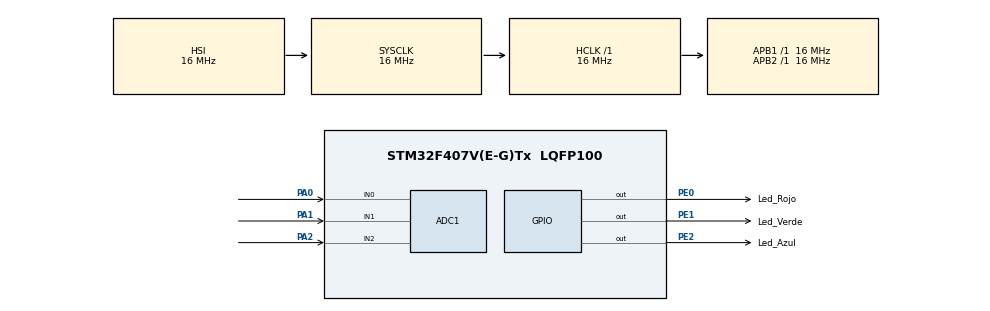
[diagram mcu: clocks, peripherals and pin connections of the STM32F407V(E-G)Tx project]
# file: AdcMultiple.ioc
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ADC1.Channel-0\#ChannelRegularConversion=ADC_CHANNEL_0
ADC1.Channel-1\#ChannelRegularConversion=ADC_CHANNEL_1
ADC1.Channel-2\#ChannelRegularConversion=ADC_CHANNEL_2
ADC1.ContinuousConvMode=ENABLE
ADC1.DMAContinuousRequests=ENABLE
ADC1.NbrOfConversion=3
ADC1.NbrOfConversionFlag=1
ADC1.Rank-0\#ChannelRegularConversion=1
ADC1.Rank-1\#ChannelRegularConversion=2
ADC1.Rank-2\#ChannelRegularConversion=3
ADC1.SamplingTime-0\#ChannelRegularConversion=ADC_SAMPLETIME_480CYCLES
ADC1.SamplingTime-1\#ChannelRegularConversion=ADC_SAMPLETIME_480CYCLES
ADC1.SamplingTime-2\#ChannelRegularConversion=ADC_SAMPLETIME_480CYCLES
ADC1.ScanConvMode=ENABLE
ADC1.master=1
Dma.ADC1.0.Direction=DMA_PERIPH_TO_MEMORY
Dma.ADC1.0.FIFOMode=DMA_FIFOMODE_DISABLE
Dma.ADC1.0.Instance=DMA2_Stream0
Dma.ADC1.0.MemDataAlignment=DMA_MDATAALIGN_HALFWORD
Dma.ADC1.0.MemInc=DMA_MINC_ENABLE
Dma.ADC1.0.Mode=DMA_CIRCULAR
Dma.ADC1.0.PeriphDataAlignment=DMA_PDATAALIGN_HALFWORD
Dma.ADC1.0.PeriphInc=DMA_PINC_DISABLE
Dma.ADC1.0.Priority=DMA_PRIORITY_LOW
Dma.Request0=ADC1
Mcu.Family=STM32F4
Mcu.Name=STM32F407V(E-G)Tx
Mcu.Package=LQFP100
NVIC.DMA2_Stream0_IRQn=true\:0\:0\:false\:false\:true
NVIC.PriorityGroup=NVIC_PRIORITYGROUP_4
PA0-WKUP.Signal=ADCx_IN0
PA1.Signal=ADCx_IN1
PA2.Signal=ADCx_IN2
PE0.GPIO_Label=Led_Rojo
PE0.PinState=GPIO_PIN_SET
PE0.Signal=GPIO_Output
PE1.GPIO_Label=Led_Verde
PE1.PinState=GPIO_PIN_SET
PE1.Signal=GPIO_Output
PE2.GPIO_Label=Led_Azul
PE2.PinState=GPIO_PIN_SET
PE2.Signal=GPIO_Output
ProjectManager.HeapSize=0x200
ProjectManager.StackSize=0x400
ProjectManager.TargetToolchain=TrueSTUDIO
RCC.AHBFreq_Value=16000000
RCC.APB1Freq_Value=16000000
RCC.APB2Freq_Value=16000000
RCC.CortexFreq_Value=16000000
RCC.HSE_VALUE=25000000
RCC.HSI_VALUE=16000000
RCC.LSE_VALUE=32768
RCC.SYSCLKFreq_VALUE=16000000
RCC.VCOOutputFreq_Value=192000000
SH.ADCx_IN0.0=ADC1_IN0,IN0
SH.ADCx_IN1.0=ADC1_IN1,IN1
SH.ADCx_IN2.0=ADC1_IN2,IN2
board=AdcMultiple

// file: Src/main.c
/**
  ******************************************************************************
  * File Name          : main.c
  * Description        : Main program body
  ******************************************************************************
  ** This notice applies to any and all portions of this file
  * that are not between comment pairs USER CODE BEGIN and
  * USER CODE END. Other portions of this file, whether
  * inserted by the user or by software development tools
  * are owned by their respective copyright owners.
  *
  * COPYRIGHT(c) 2017 STMicroelectronics
  *
  * Redistribution and use in source and binary forms, with or without modification,
  * are permitted provided that the following conditions are met:
  *   1. Redistributions of source code must retain the above copyright notice,
  *      this list of conditions and the following disclaimer.
  *   2. Redistributions in binary form must reproduce the above copyright notice,
  *      this list of conditions and the following disclaimer in the documentation
  *      and/or other materials provided with the distribution.
  *   3. Neither the name of STMicroelectronics nor the names of its contributors
  *      may be used to endorse or promote products derived from this software
  *      without specific prior written permission.
  *
  * THIS SOFTWARE IS PROVIDED BY THE COPYRIGHT HOLDERS AND CONTRIBUTORS "AS IS"
  * AND ANY EXPRESS OR IMPLIED WARRANTIES, INCLUDING, BUT NOT LIMITED TO, THE
  * IMPLIED WARRANTIES OF MERCHANTABILITY AND FITNESS FOR A PARTICULAR PURPOSE ARE
  * DISCLAIMED. IN NO EVENT SHALL THE COPYRIGHT HOLDER OR CONTRIBUTORS BE LIABLE
  * FOR ANY DIRECT, INDIRECT, INCIDENTAL, SPECIAL, EXEMPLARY, OR CONSEQUENTIAL
  * DAMAGES (INCLUDING, BUT NOT LIMITED TO, PROCUREMENT OF SUBSTITUTE GOODS OR
  * SERVICES; LOSS OF USE, DATA, OR PROFITS; OR BUSINESS INTERRUPTION) HOWEVER
  * CAUSED AND ON ANY THEORY OF LIABILITY, WHETHER IN CONTRACT, STRICT LIABILITY,
  * OR TORT (INCLUDING NEGLIGENCE OR OTHERWISE) ARISING IN ANY WAY OUT OF THE USE
  * OF THIS SOFTWARE, EVEN IF ADVISED OF THE POSSIBILITY OF SUCH DAMAGE.
  *
  ******************************************************************************
  */
#include "main.h"
#include "stm32f4xx_hal.h"
#include "adc.h"
#include "dma.h"
#include "gpio.h"

/* USER CODE BEGIN Includes */
#define HIGH GPIO_PIN_RESET
#define LOW GPIO_PIN_SET
/* USER CODE END Includes */

/* USER CODE BEGIN PV */
/* Private variables ---------------------------------------------------------*/

/* USER CODE END PV */

void SystemClock_Config(void);

/* USER CODE BEGIN PFP */
/* Private function prototypes -----------------------------------------------*/

/* USER CODE END PFP */

/* USER CODE BEGIN 0 */
  uint16_t lectura_adc[3];

/* USER CODE END 0 */

int main(void)
{

  /* MCU Configuration----------------------------------------------------------*/

  /* Reset of all peripherals, Initializes the Flash interface and the Systick. */
  HAL_Init();

  /* Configure the system clock */
  SystemClock_Config();

  /* Initialize all configured peripherals */
  MX_GPIO_Init();
  MX_DMA_Init();
  MX_ADC1_Init();

  /* USER CODE BEGIN 2 */
  HAL_ADC_Start_DMA(&hadc1,(uint32_t*)lectura_adc,3);

  /* USER CODE END 2 */

  /* Infinite loop */
  while (1)
  {

  /* USER CODE BEGIN 3 */
	  if(lectura_adc[0]<=1023){
	      	HAL_GPIO_WritePin(Led_Rojo_GPIO_Port,Led_Rojo_Pin,LOW);
	      }
	      else{
	      	HAL_GPIO_WritePin(Led_Rojo_GPIO_Port,Led_Rojo_Pin,HIGH);
	      }
	      if(lectura_adc[1]<=1023){
	      	HAL_GPIO_WritePin(Led_Verde_GPIO_Port,Led_Verde_Pin,LOW);
	      }
	      else{
	      	HAL_GPIO_WritePin(Led_Verde_GPIO_Port,Led_Verde_Pin,HIGH);
	      }

	      if(lectura_adc[2]<=1023){
	      	HAL_GPIO_WritePin(Led_Azul_GPIO_Port,Led_Azul_Pin,LOW);
	      }
	      else{
	      	HAL_GPIO_WritePin(Led_Azul_GPIO_Port,Led_Azul_Pin,HIGH);
	      }

  }
  /* USER CODE END 3 */

}

/** System Clock Configuration
*/
void SystemClock_Config(void)
{

  RCC_OscInitTypeDef RCC_OscInitStruct;
  RCC_ClkInitTypeDef RCC_ClkInitStruct;

    /**Configure the main internal regulator output voltage
    */
  __HAL_RCC_PWR_CLK_ENABLE();

  __HAL_PWR_VOLTAGESCALING_CONFIG(PWR_REGULATOR_VOLTAGE_SCALE1);

    /**Initializes the CPU, AHB and APB busses clocks
    */
  RCC_OscInitStruct.OscillatorType = RCC_OSCILLATORTYPE_HSI;
  RCC_OscInitStruct.HSIState = RCC_HSI_ON;
  RCC_OscInitStruct.HSICalibrationValue = 16;
  RCC_OscInitStruct.PLL.PLLState = RCC_PLL_NONE;
  if (HAL_RCC_OscConfig(&RCC_OscInitStruct) != HAL_OK)
  {
    _Error_Handler(__FILE__, __LINE__);
  }

    /**Initializes the CPU, AHB and APB busses clocks
    */
  RCC_ClkInitStruct.ClockType = RCC_CLOCKTYPE_HCLK|RCC_CLOCKTYPE_SYSCLK
                              |RCC_CLOCKTYPE_PCLK1|RCC_CLOCKTYPE_PCLK2;
  RCC_ClkInitStruct.SYSCLKSource = RCC_SYSCLKSOURCE_HSI;
  RCC_ClkInitStruct.AHBCLKDivider = RCC_SYSCLK_DIV1;
  RCC_ClkInitStruct.APB1CLKDivider = RCC_HCLK_DIV1;
  RCC_ClkInitStruct.APB2CLKDivider = RCC_HCLK_DIV1;

  if (HAL_RCC_ClockConfig(&RCC_ClkInitStruct, FLASH_LATENCY_0) != HAL_OK)
  {
    _Error_Handler(__FILE__, __LINE__);
  }

    /**Configure the Systick interrupt time
    */
  HAL_SYSTICK_Config(HAL_RCC_GetHCLKFreq()/1000);

    /**Configure the Systick
    */
  HAL_SYSTICK_CLKSourceConfig(SYSTICK_CLKSOURCE_HCLK);

  /* SysTick_IRQn interrupt configuration */
  HAL_NVIC_SetPriority(SysTick_IRQn, 0, 0);
}

void _Error_Handler(char * file, int line)
{
  while(1)
  {
  }
}

/************************ (C) COPYRIGHT STMicroelectronics *****END OF FILE****/
